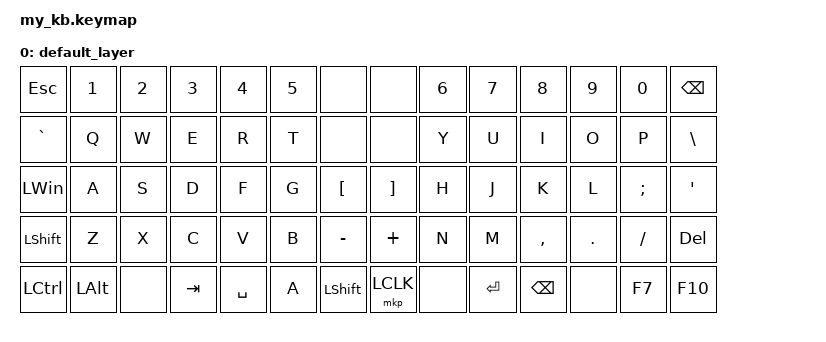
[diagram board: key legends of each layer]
#include <behaviors.dtsi>
#include <dt-bindings/zmk/keys.h>
#include <dt-bindings/zmk/bt.h>
#include <dt-bindings/zmk/mouse.h>


/ {
	// behaviors {
	//         // 引数を2つ受け取るHold-Tapの定義
	//         // 1つ目の引数がホールド時、2つ目の引数がタップ時に渡されます
	//     bts: bt_sel_clr {
	//         compatible = "zmk,behavior-hold-tap";
	//         label = "BT_SEL_CLR";
	//         #binding-cells = <2>;        // 引数は2つ必要
	//         tapping-term-ms = <500>;    // 誤操作防止のため長めに設定
	//         quick-tap-ms = <0>;
	//         flavor = "tap-preferred";   // タップ（選択）を優先
	//         bindings = <&bt>, <&bt>;    // ホールドで1つ目、タップで2つ目の&btを実行
	//     };
	// };
	
	keymap {
		compatible = "zmk,keymap";
		


		default_layer {
			bindings = <
			&kp ESC          	&kp N1                  &kp N2                  &kp N3                  &kp N4          &kp N5          &none               &none               &kp N6      &kp N7          &kp N8          &kp N9              &kp N0          &kp BSPC 
			&kp GRAVE           &kp Q                   &kp W                   &kp E                   &kp R           &kp T           &none               &none               &kp Y       &kp U           &kp I           &kp O               &kp P           &kp BACKSLASH
			&kp LEFT_WIN        &kp A                   &kp S                   &kp D                   &kp F           &kp G           &kp LEFT_BRACKET    &kp RIGHT_BRACKET   &kp H       &kp J       	&kp K           &kp L               &kp SEMICOLON   &kp SINGLE_QUOTE
			&kp LEFT_SHIFT      &kp Z                   &kp X                   &kp C                   &kp V           &kp B           &kp MINUS           &kp PLUS            &kp N       &kp M           &kp COMMA       &kp DOT             &kp SLASH       &kp DELETE
			&kp LEFT_CONTROL    &kp LEFT_ALT            &none                   &kp TAB            		&kp SPACE       &kp A           &kp LEFT_SHIFT      &mkp LCLK           &none		&kp ENTER       &kp BACKSPACE   &none               &kp F7          &kp F10
			>;
		};
		// layer_1 {
		// 	// 7列(左) + 7列(右) = 14列 × 5行 = 全70キー分
		// 	bindings = <
		// 	&none               &bt BT_SEL 0            &bt BT_SEL 1            &bt BT_SEL 2            &kp F4          &none                                                   &none       &kp F7          &none           &none              &kp F10         	&none               &none
		// 	&none               &none                   &none                   &kp UP                  &none           &none                                                   &none       &msc SCRL_LEFT  &msc SCRL_UP    &msc SCRL_RIGHT    &none           	&none
		// 	&none               &none                   &kp LEFT                &kp DOWN                &kp RIGHT       &none           &none               &none               &none       &mkp LCLK       &mkp MCLK       &mkp RCLK          &none           	&none
		// 	&none               &none                   &none                   &none                   &none           &none           &none               &none               &none       &none           &msc SCRL_DOWN  &none              &none           	&bt BT_CLR
		// 	&none               &none                                           &none                   &none           &trans          &none               &none                           &none           &none                              &none           	&none
		// 	>;
		// };
	};
	
};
